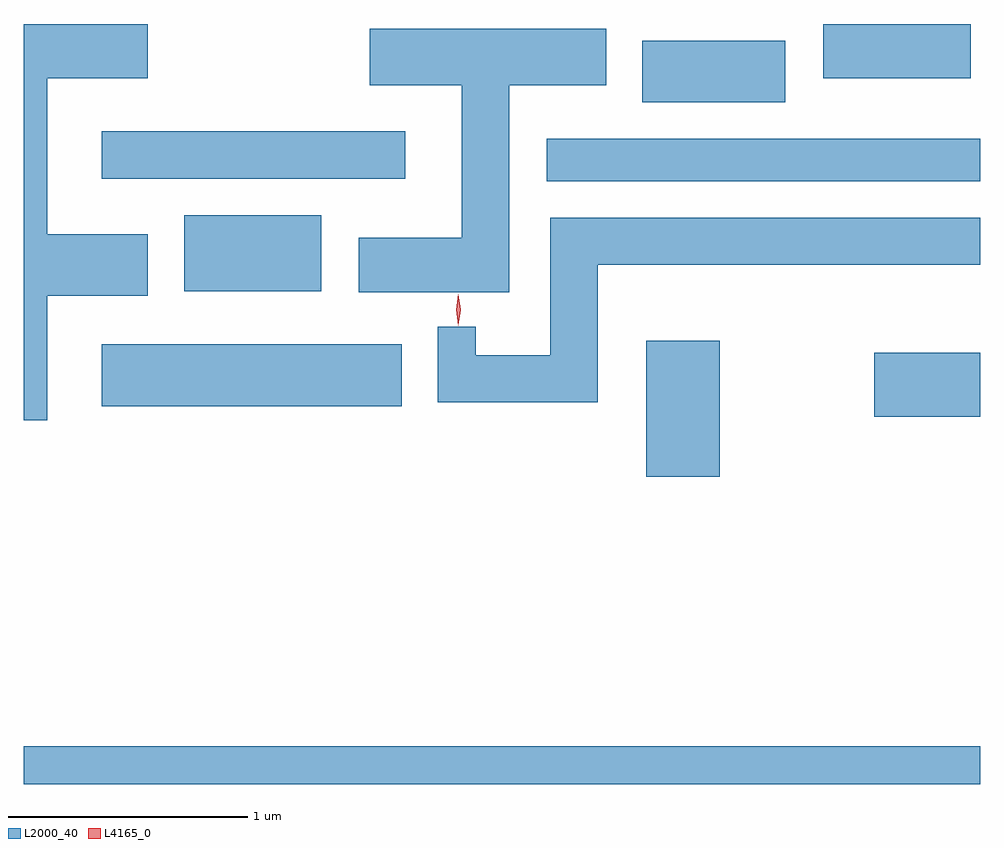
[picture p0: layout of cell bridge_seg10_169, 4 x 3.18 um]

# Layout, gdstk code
import gdstk
lib = gdstk.Library(unit=1e-6, precision=1e-09)
def R(c, l, rs):  # rectangles x0, y0, x1, y1
    for r in rs: c.add(gdstk.rectangle(r[:2], r[2:], *l))
def P(c, l, *ps):  # polygons
    for p in ps: c.add(gdstk.Polygon(p, *l))
L2000_40 = (2000, 40)
L4165_0 = (4165, 0)

bridge_seg10_169 = lib.new_cell('bridge_seg10_169')
R(bridge_seg10_169, L2000_40, [(1819.349,2121.741,1823.349,2121.899), (1821.951,2123.026,1822.259,2123.594), (1822.906,2123.276,1823.349,2123.544), (1819.676,2123.321,1820.929,2123.579), (1820.021,2123.801,1820.594,2124.119), (1821.536,2124.261,1823.349,2124.439), (1819.676,2124.271,1820.944,2124.469), (1821.936,2124.591,1822.534,2124.849), (1822.691,2124.691,1823.309,2124.918)])
P(bridge_seg10_169, L2000_40, [(1819.449,2123.781),(1819.869,2123.781),(1819.869,2124.039),(1819.449,2124.039),(1819.449,2124.691),(1819.869,2124.691),(1819.869,2124.918),(1819.349,2124.918),(1819.349,2123.261),(1819.449,2123.261)],
  [(1821.379,2124.661),(1821.784,2124.661),(1821.784,2124.899),(1820.796,2124.899),(1820.796,2124.661),(1821.181,2124.661),(1821.181,2124.024),(1820.751,2124.024),(1820.751,2123.796),(1821.379,2123.796)],
  [(1821.749,2123.911),(1823.349,2123.911),(1823.349,2124.109),(1821.551,2124.109),(1821.551,2123.534),(1821.239,2123.534),(1821.239,2123.653),(1821.081,2123.653),(1821.081,2123.336),(1821.749,2123.336)])
P(bridge_seg10_169, L4165_0, [(1821.167,2123.657),(1821.166,2123.658),(1821.157,2123.723),(1821.166,2123.788),(1821.167,2123.789),(1821.167,2123.788),(1821.177,2123.723),(1821.167,2123.658)])

lib.write_gds('bridge_seg10_169.gds')
